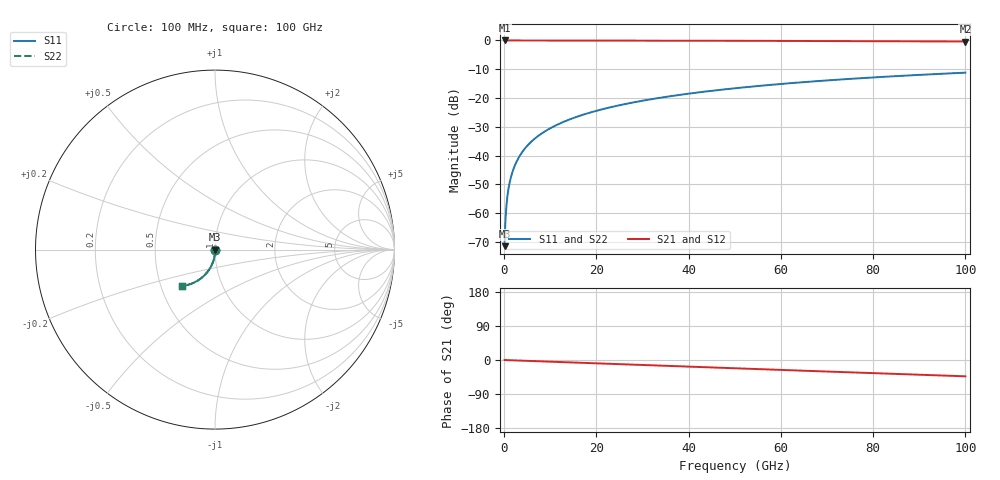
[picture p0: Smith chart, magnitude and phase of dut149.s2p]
! Touchstone file exported from HFSS 2026.1.0
!  File:  C:/ffzhzh/LocalFiles/Ansys_Project_Files/temp_train_TSV_149_1783506593_9504.aedt
!  Generated:  06:31:03 PM Jul  8, 2026
!  Design:  TSV
!  Project:  temp_train_TSV_149_1783506593_9504
! Variables:
!  h_bsmrdl = 2um
!  h_ox = 20um
!  h_rdl = 5um
!  h_sub = 85.01um
!  h_tmrdl = 5um
!  h_tsv = 85.01um
!  h_via = 3um
!  l_bsmrdl = 300um
!  l_sub = 428.26um
!  l_tmrdl = 200um
!  m_sub = 200um
!  pitch = 40.28um
!  r_tsv = 14.13um
!  s_tmrdl = 10um
!  w_bsmrdl = 18um
!  w_sub = 500um
!  w_tmrdl = 12um
!  x_tsv_center1 = 206um
!  x_tsv_center2 = 524um
!  x_tsv_center3 = 736um
!  x_tsv_center4 = 1054um
!  x_tsv_center5 = 1266um
!  x_tsv_center6 = 1584um
# GHz S MA R 50.000000
! Terminal data exported
! Port[1] = TSV1_1_T1
! Port[2] = TSV1_1_T2
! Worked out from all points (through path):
!   1000 points, 100 MHz to 100 GHz, reference 50 ohm
!   highest |S21| = 0.00 dB at 100 MHz (marker M1); lowest = -0.4 dB at 100 GHz (marker M2)
!   group delay of S21, straight-line fit = 1.2 ps
!   lowest |S11| = -71.5 dB at 100 MHz (marker M3), VSWR 1.00, Z = 50 - j0.0251 ohm
!   |S11| at or under -10 dB: start of sweep to end of sweep
!   |S22| runs from -71.5 to -11.2 dB; largest |S21 - S12| = 5.1e-15
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0.1  0.0002657 -70.9  0.9999 -0.0  0.9999 -0.0  0.0002657 -70.9
! Gamma 0 0 0 0
! Port Impedance 50 0 50 0
0.3  0.000788 -80.5  0.9999 -0.1  0.9999 -0.1  0.000788 -80.5
0.7  0.001932 -83.7  0.9998 -0.3  0.9998 -0.3  0.001932 -83.7
0.8  0.002225 -84.2  0.9998 -0.4  0.9998 -0.4  0.002225 -84.2
1  0.002814 -85.0  0.9997 -0.5  0.9997 -0.5  0.002814 -85.0
1.3  0.003697 -85.9  0.9997 -0.6  0.9997 -0.6  0.003697 -85.9
1.7  0.004878 -86.8  0.9996 -0.8  0.9996 -0.8  0.004878 -86.8
2.3  0.006655 -87.6  0.9996 -1.0  0.9996 -1.0  0.006655 -87.6
2.9  0.008441 -88.3  0.9995 -1.3  0.9995 -1.3  0.008441 -88.3
3.7  0.01083 -89.0  0.9994 -1.6  0.9994 -1.6  0.01083 -89.0
4.7  0.01383 -89.7  0.9993 -2.1  0.9993 -2.1  0.01383 -89.7
5.8  0.01714 -90.4  0.9992 -2.6  0.9992 -2.6  0.01714 -90.4
8.6  0.02557 -92.1  0.9989 -3.8  0.9989 -3.8  0.02557 -92.1
12.2  0.03641 -93.9  0.9984 -5.4  0.9984 -5.4  0.03641 -93.9
16.8  0.05026 -96.1  0.9976 -7.4  0.9976 -7.4  0.05026 -96.1
24.2  0.07242 -99.6  0.996 -10.7  0.996 -10.7  0.07242 -99.6
33.4  0.09965 -103.8  0.9934 -14.7  0.9934 -14.7  0.09965 -103.8
41.2  0.1224 -107.3  0.9907 -18.1  0.9907 -18.1  0.1224 -107.3
50.1  0.1478 -111.2  0.987 -21.9  0.987 -21.9  0.1478 -111.2
66.7  0.1933 -118.4  0.9787 -29.0  0.9787 -29.0  0.1933 -118.4
83.4  0.2361 -125.5  0.9688 -36.1  0.9688 -36.1  0.2361 -125.5
100  0.2755 -132.5  0.9578 -43.0  0.9578 -43.0  0.2755 -132.5
